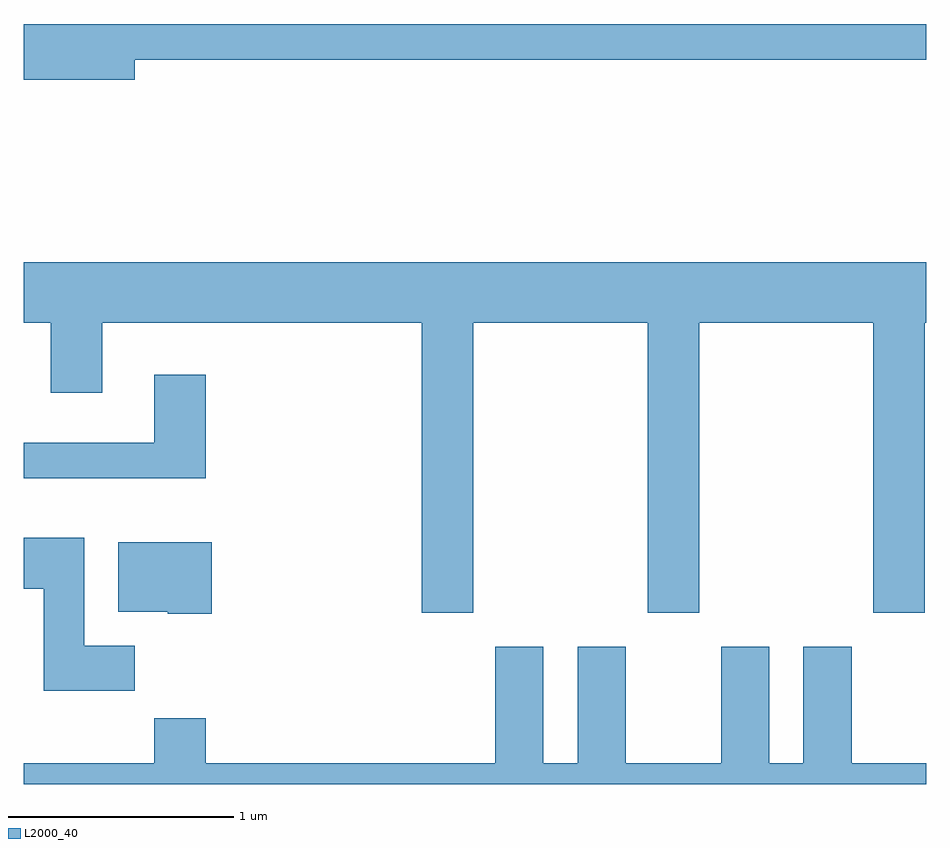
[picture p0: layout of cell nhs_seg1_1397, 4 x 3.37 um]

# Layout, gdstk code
import gdstk
lib = gdstk.Library(unit=1e-6, precision=1e-09)
def P(c, l, *ps):  # polygons
    for p in ps: c.add(gdstk.Polygon(p, *l))
L2000_40 = (2000, 40)

nhs_seg1_1397 = lib.new_cell('nhs_seg1_1397')
P(nhs_seg1_1397, L2000_40, [(228.104,942.921),(231.611,942.921),(231.611,943.079),(227.611,943.079),(227.611,942.831),(228.104,942.831)],
  [(229.604,941.756),(230.376,941.756),(230.376,940.471),(230.604,940.471),(230.604,941.756),(231.376,941.756),(231.376,940.471),(231.604,940.471),(231.604,941.756),(231.611,941.756),(231.611,942.024),(227.611,942.024),(227.611,941.756),(227.731,941.756),(227.731,941.446),(227.959,941.446),(227.959,941.756),(229.376,941.756),(229.376,940.471),(229.604,940.471)],
  [(228.419,941.524),(228.191,941.524),(228.191,941.224),(227.611,941.224),(227.611,941.066),(228.419,941.066)],
  [(228.104,940.324),(227.879,940.324),(227.879,940.804),(227.611,940.804),(227.611,940.576),(227.701,940.576),(227.701,940.126),(228.104,940.126)],
  [(228.444,940.784),(228.031,940.784),(228.031,940.476),(228.25,940.476),(228.25,940.466),(228.444,940.466)],
  [(231.611,939.804),(231.279,939.804),(231.279,940.319),(231.066,940.319),(231.066,939.804),(230.914,939.804),(230.914,940.319),(230.701,940.319),(230.701,939.804),(230.279,939.804),(230.279,940.319),(230.066,940.319),(230.066,939.804),(229.914,939.804),(229.914,940.319),(229.701,940.319),(229.701,939.804),(228.419,939.804),(228.419,940.004),(228.191,940.004),(228.191,939.804),(227.611,939.804),(227.611,939.712),(231.611,939.712)])

lib.write_gds('nhs_seg1_1397.gds')
